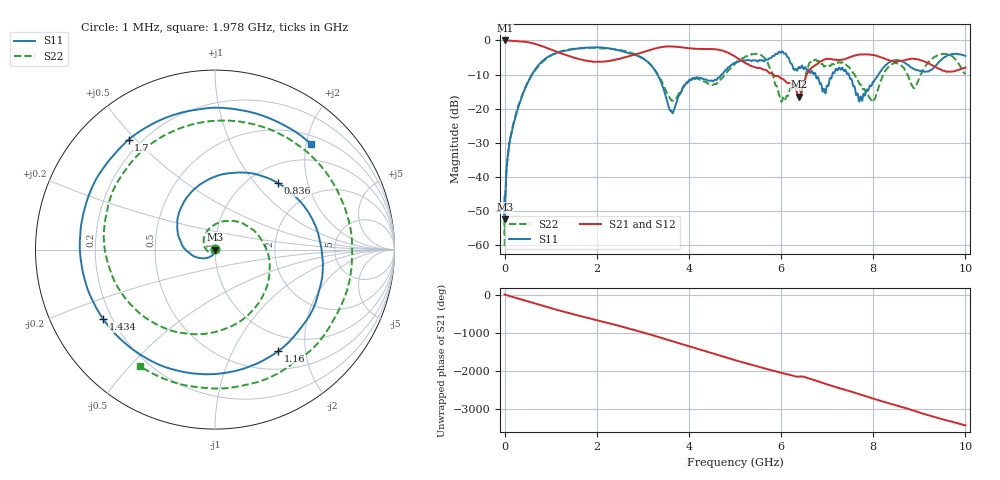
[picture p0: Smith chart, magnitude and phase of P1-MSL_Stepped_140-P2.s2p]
! 2/19/2018 12:39:02 PM
! E:\STEPPED_EXPERIMENT_2018-02-19\P1-MSL_STEPPED140-P2.S2P
! CHANNEL.1
! TR.MEASUREMENT
! CORRECTED.DATA
# GHZ S RI R 50.0
! FREQ.GHZ  S11RE  S11IM  S21RE  S21IM  S12RE  S12IM  S22RE  S22IM
!; PortSelection: Port_12
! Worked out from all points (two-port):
!   10000 points, 1 MHz to 10 GHz, reference 50 ohm
!   highest |S21| = 0.01 dB at 11 MHz (marker M1); lowest = -16.5 dB at 6.393 GHz (marker M2)
!   |S21| within 3 dB of the highest: start of sweep to 1.072 GHz; 3.109 GHz to 4.74 GHz (1.631 GHz wide, 41.6 % of centre)
!   lowest |S11| = -52.5 dB at 2 MHz (marker M3), VSWR 1.00, Z = 50.2 + j0.0447 ohm
!   |S11| at or under -10 dB: start of sweep to 592.6 MHz; 3.317 GHz to 4.707 GHz (1.39 GHz wide, 34.7 % of centre); 7.474 GHz to 8.111 GHz (637.7 MHz wide, 8.18 % of centre)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
!   |S22| runs from -60.4 to -2.2 dB; largest |S21 - S12| = 0.02
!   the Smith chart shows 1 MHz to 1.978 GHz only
!   S11 on the Smith chart (normalised r, x): 1 MHz: 1.01, +0.00; 836 MHz: 1.32, +1.32; 1.16 GHz: 0.75, -1.53; 1.434 GHz: 0.17, -0.28; 1.7 GHz: 0.15, +0.48; 1.978 GHz: 0.65, +2.08
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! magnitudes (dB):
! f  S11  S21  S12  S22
! 1 MHz  -50.1  -0.1  0.0  -60.4
! 2 MHz  -52.5  0.0  0.0  -60.2
! 11 MHz  -48.2  0.0  0.0  -48.2
! 81 MHz  -32.7  0.0  -0.1  -32.7
! 225 MHz  -23.2  -0.1  -0.2  -22.6
! 836 MHz  -5.9  -1.8  -1.8  -6.1
! 1.16 GHz  -3.5  -3.5  -3.5  -3.5
! 1.434 GHz  -2.7  -4.7  -4.8  -2.5
! 1.668 GHz  -2.2  -5.6  -5.6  -2.3
! 1.7 GHz  -2.2  -5.7  -5.8  -2.3
! 1.978 GHz  -2.0  -6.2  -6.2  -2.2
! 3.334 GHz  -10.5  -2.1  -2.1  -10.2
! 3.632 GHz  -20.9  -1.8  -1.8  -17.6
! 5.001 GHz  -6.5  -4.7  -4.7  -6.9
! 5.538 GHz  -5.7  -8.1  -8.1  -4.2
! 5.996 GHz  -3.6  -11.1  -11.1  -17.6
! 6.393 GHz  -7.8  -16.5  -16.5  -13.7
! 6.667 GHz  -8.9  -8.0  -8.0  -5.8
! 7.421 GHz  -9.5  -5.3  -5.3  -7.2
! 7.984 GHz  -12.5  -4.2  -4.2  -17.8
! 8.334 GHz  -6.5  -5.7  -5.8  -7.7
! 10 GHz  -4.5  -8.0  -8.0  -9.9
